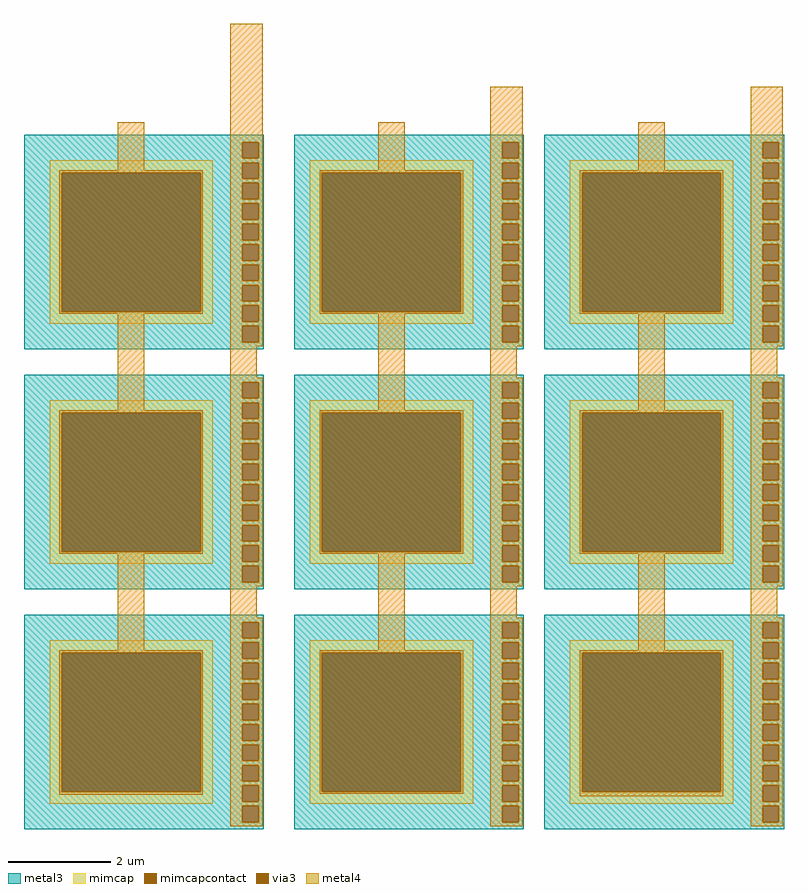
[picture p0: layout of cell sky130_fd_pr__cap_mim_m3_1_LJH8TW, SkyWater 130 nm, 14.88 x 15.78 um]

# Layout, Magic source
magic
tech sky130A
magscale 1 2
<< metal3 >>
rect -1489 1332 -550 1360
rect -1489 1268 -634 1332
rect -570 1268 -550 1332
rect -1489 1252 -550 1268
rect -1489 1188 -634 1252
rect -570 1188 -550 1252
rect -1489 1172 -550 1188
rect -1489 1108 -634 1172
rect -570 1108 -550 1172
rect -1489 1092 -550 1108
rect -1489 1028 -634 1092
rect -570 1028 -550 1092
rect -1489 1012 -550 1028
rect -1489 948 -634 1012
rect -570 948 -550 1012
rect -1489 932 -550 948
rect -1489 868 -634 932
rect -570 868 -550 932
rect -1489 852 -550 868
rect -1489 788 -634 852
rect -570 788 -550 852
rect -1489 772 -550 788
rect -1489 708 -634 772
rect -570 708 -550 772
rect -1489 692 -550 708
rect -1489 628 -634 692
rect -570 628 -550 692
rect -1489 612 -550 628
rect -1489 548 -634 612
rect -570 548 -550 612
rect -1489 520 -550 548
rect -430 1332 469 1360
rect -430 1268 385 1332
rect 449 1268 469 1332
rect -430 1252 469 1268
rect -430 1188 385 1252
rect 449 1188 469 1252
rect -430 1172 469 1188
rect -430 1108 385 1172
rect 449 1108 469 1172
rect -430 1092 469 1108
rect -430 1028 385 1092
rect 449 1028 469 1092
rect -430 1012 469 1028
rect -430 948 385 1012
rect 449 948 469 1012
rect -430 932 469 948
rect -430 868 385 932
rect 449 868 469 932
rect -430 852 469 868
rect -430 788 385 852
rect 449 788 469 852
rect -430 772 469 788
rect -430 708 385 772
rect 449 708 469 772
rect -430 692 469 708
rect -430 628 385 692
rect 449 628 469 692
rect -430 612 469 628
rect -430 548 385 612
rect 449 548 469 612
rect -430 520 469 548
rect 549 1332 1488 1360
rect 549 1268 1404 1332
rect 1468 1268 1488 1332
rect 549 1252 1488 1268
rect 549 1188 1404 1252
rect 1468 1188 1488 1252
rect 549 1172 1488 1188
rect 549 1108 1404 1172
rect 1468 1108 1488 1172
rect 549 1092 1488 1108
rect 549 1028 1404 1092
rect 1468 1028 1488 1092
rect 549 1012 1488 1028
rect 549 948 1404 1012
rect 1468 948 1488 1012
rect 549 932 1488 948
rect 549 868 1404 932
rect 1468 868 1488 932
rect 549 852 1488 868
rect 549 788 1404 852
rect 1468 788 1488 852
rect 549 772 1488 788
rect 549 708 1404 772
rect 1468 708 1488 772
rect 549 692 1488 708
rect 549 628 1404 692
rect 1468 628 1488 692
rect 549 612 1488 628
rect 549 548 1404 612
rect 1468 548 1488 612
rect 549 520 1488 548
rect -1489 392 -550 420
rect -1489 328 -634 392
rect -570 328 -550 392
rect -1489 312 -550 328
rect -1489 248 -634 312
rect -570 248 -550 312
rect -1489 232 -550 248
rect -1489 168 -634 232
rect -570 168 -550 232
rect -1489 152 -550 168
rect -1489 88 -634 152
rect -570 88 -550 152
rect -1489 72 -550 88
rect -1489 8 -634 72
rect -570 8 -550 72
rect -1489 -8 -550 8
rect -1489 -72 -634 -8
rect -570 -72 -550 -8
rect -1489 -88 -550 -72
rect -1489 -152 -634 -88
rect -570 -152 -550 -88
rect -1489 -168 -550 -152
rect -1489 -232 -634 -168
rect -570 -232 -550 -168
rect -1489 -248 -550 -232
rect -1489 -312 -634 -248
rect -570 -312 -550 -248
rect -1489 -328 -550 -312
rect -1489 -392 -634 -328
rect -570 -392 -550 -328
rect -1489 -420 -550 -392
rect -430 392 469 420
rect -430 328 385 392
rect 449 328 469 392
rect -430 312 469 328
rect -430 248 385 312
rect 449 248 469 312
rect -430 232 469 248
rect -430 168 385 232
rect 449 168 469 232
rect -430 152 469 168
rect -430 88 385 152
rect 449 88 469 152
rect -430 72 469 88
rect -430 8 385 72
rect 449 8 469 72
rect -430 -8 469 8
rect -430 -72 385 -8
rect 449 -72 469 -8
rect -430 -88 469 -72
rect -430 -152 385 -88
rect 449 -152 469 -88
rect -430 -168 469 -152
rect -430 -232 385 -168
rect 449 -232 469 -168
rect -430 -248 469 -232
rect -430 -312 385 -248
rect 449 -312 469 -248
rect -430 -328 469 -312
rect -430 -392 385 -328
rect 449 -392 469 -328
rect -430 -420 469 -392
rect 549 392 1488 420
rect 549 328 1404 392
rect 1468 328 1488 392
rect 549 312 1488 328
rect 549 248 1404 312
rect 1468 248 1488 312
rect 549 232 1488 248
rect 549 168 1404 232
rect 1468 168 1488 232
rect 549 152 1488 168
rect 549 88 1404 152
rect 1468 88 1488 152
rect 549 72 1488 88
rect 549 8 1404 72
rect 1468 8 1488 72
rect 549 -8 1488 8
rect 549 -72 1404 -8
rect 1468 -72 1488 -8
rect 549 -88 1488 -72
rect 549 -152 1404 -88
rect 1468 -152 1488 -88
rect 549 -168 1488 -152
rect 549 -232 1404 -168
rect 1468 -232 1488 -168
rect 549 -248 1488 -232
rect 549 -312 1404 -248
rect 1468 -312 1488 -248
rect 549 -328 1488 -312
rect 549 -392 1404 -328
rect 1468 -392 1488 -328
rect 549 -420 1488 -392
rect -1489 -548 -550 -520
rect -1489 -612 -634 -548
rect -570 -612 -550 -548
rect -1489 -628 -550 -612
rect -1489 -692 -634 -628
rect -570 -692 -550 -628
rect -1489 -708 -550 -692
rect -1489 -772 -634 -708
rect -570 -772 -550 -708
rect -1489 -788 -550 -772
rect -1489 -852 -634 -788
rect -570 -852 -550 -788
rect -1489 -868 -550 -852
rect -1489 -932 -634 -868
rect -570 -932 -550 -868
rect -1489 -948 -550 -932
rect -1489 -1012 -634 -948
rect -570 -1012 -550 -948
rect -1489 -1028 -550 -1012
rect -1489 -1092 -634 -1028
rect -570 -1092 -550 -1028
rect -1489 -1108 -550 -1092
rect -1489 -1172 -634 -1108
rect -570 -1172 -550 -1108
rect -1489 -1188 -550 -1172
rect -1489 -1252 -634 -1188
rect -570 -1252 -550 -1188
rect -1489 -1268 -550 -1252
rect -1489 -1332 -634 -1268
rect -570 -1332 -550 -1268
rect -1489 -1360 -550 -1332
rect -430 -548 469 -520
rect -430 -612 385 -548
rect 449 -612 469 -548
rect -430 -628 469 -612
rect -430 -692 385 -628
rect 449 -692 469 -628
rect -430 -708 469 -692
rect -430 -772 385 -708
rect 449 -772 469 -708
rect -430 -788 469 -772
rect -430 -852 385 -788
rect 449 -852 469 -788
rect -430 -868 469 -852
rect -430 -932 385 -868
rect 449 -932 469 -868
rect -430 -948 469 -932
rect -430 -1012 385 -948
rect 449 -1012 469 -948
rect -430 -1028 469 -1012
rect -430 -1092 385 -1028
rect 449 -1092 469 -1028
rect -430 -1108 469 -1092
rect -430 -1172 385 -1108
rect 449 -1172 469 -1108
rect -430 -1188 469 -1172
rect -430 -1252 385 -1188
rect 449 -1252 469 -1188
rect -430 -1268 469 -1252
rect -430 -1332 385 -1268
rect 449 -1332 469 -1268
rect -430 -1360 469 -1332
rect 549 -548 1488 -520
rect 549 -612 1404 -548
rect 1468 -612 1488 -548
rect 549 -628 1488 -612
rect 549 -692 1404 -628
rect 1468 -692 1488 -628
rect 549 -708 1488 -692
rect 549 -772 1404 -708
rect 1468 -772 1488 -708
rect 549 -788 1488 -772
rect 549 -852 1404 -788
rect 1468 -852 1488 -788
rect 549 -868 1488 -852
rect 549 -932 1404 -868
rect 1468 -932 1488 -868
rect 549 -948 1488 -932
rect 549 -1012 1404 -948
rect 1468 -1012 1488 -948
rect 549 -1028 1488 -1012
rect 549 -1092 1404 -1028
rect 1468 -1092 1488 -1028
rect 549 -1108 1488 -1092
rect 549 -1172 1404 -1108
rect 1468 -1172 1488 -1108
rect 549 -1188 1488 -1172
rect 549 -1252 1404 -1188
rect 1468 -1252 1488 -1188
rect 549 -1268 1488 -1252
rect 549 -1332 1404 -1268
rect 1468 -1332 1488 -1268
rect 549 -1360 1488 -1332
<< via3 >>
rect -634 1268 -570 1332
rect -634 1188 -570 1252
rect -634 1108 -570 1172
rect -634 1028 -570 1092
rect -634 948 -570 1012
rect -634 868 -570 932
rect -634 788 -570 852
rect -634 708 -570 772
rect -634 628 -570 692
rect -634 548 -570 612
rect 385 1268 449 1332
rect 385 1188 449 1252
rect 385 1108 449 1172
rect 385 1028 449 1092
rect 385 948 449 1012
rect 385 868 449 932
rect 385 788 449 852
rect 385 708 449 772
rect 385 628 449 692
rect 385 548 449 612
rect 1404 1268 1468 1332
rect 1404 1188 1468 1252
rect 1404 1108 1468 1172
rect 1404 1028 1468 1092
rect 1404 948 1468 1012
rect 1404 868 1468 932
rect 1404 788 1468 852
rect 1404 708 1468 772
rect 1404 628 1468 692
rect 1404 548 1468 612
rect -634 328 -570 392
rect -634 248 -570 312
rect -634 168 -570 232
rect -634 88 -570 152
rect -634 8 -570 72
rect -634 -72 -570 -8
rect -634 -152 -570 -88
rect -634 -232 -570 -168
rect -634 -312 -570 -248
rect -634 -392 -570 -328
rect 385 328 449 392
rect 385 248 449 312
rect 385 168 449 232
rect 385 88 449 152
rect 385 8 449 72
rect 385 -72 449 -8
rect 385 -152 449 -88
rect 385 -232 449 -168
rect 385 -312 449 -248
rect 385 -392 449 -328
rect 1404 328 1468 392
rect 1404 248 1468 312
rect 1404 168 1468 232
rect 1404 88 1468 152
rect 1404 8 1468 72
rect 1404 -72 1468 -8
rect 1404 -152 1468 -88
rect 1404 -232 1468 -168
rect 1404 -312 1468 -248
rect 1404 -392 1468 -328
rect -634 -612 -570 -548
rect -634 -692 -570 -628
rect -634 -772 -570 -708
rect -634 -852 -570 -788
rect -634 -932 -570 -868
rect -634 -1012 -570 -948
rect -634 -1092 -570 -1028
rect -634 -1172 -570 -1108
rect -634 -1252 -570 -1188
rect -634 -1332 -570 -1268
rect 385 -612 449 -548
rect 385 -692 449 -628
rect 385 -772 449 -708
rect 385 -852 449 -788
rect 385 -932 449 -868
rect 385 -1012 449 -948
rect 385 -1092 449 -1028
rect 385 -1172 449 -1108
rect 385 -1252 449 -1188
rect 385 -1332 449 -1268
rect 1404 -612 1468 -548
rect 1404 -692 1468 -628
rect 1404 -772 1468 -708
rect 1404 -852 1468 -788
rect 1404 -932 1468 -868
rect 1404 -1012 1468 -948
rect 1404 -1092 1468 -1028
rect 1404 -1172 1468 -1108
rect 1404 -1252 1468 -1188
rect 1404 -1332 1468 -1268
<< mimcap >>
rect -1389 1212 -749 1260
rect -1389 668 -1341 1212
rect -797 668 -749 1212
rect -1389 620 -749 668
rect -370 1212 270 1260
rect -370 668 -322 1212
rect 222 668 270 1212
rect -370 620 270 668
rect 649 1212 1289 1260
rect 649 668 697 1212
rect 1241 668 1289 1212
rect 649 620 1289 668
rect -1389 272 -749 320
rect -1389 -272 -1341 272
rect -797 -272 -749 272
rect -1389 -320 -749 -272
rect -370 272 270 320
rect -370 -272 -322 272
rect 222 -272 270 272
rect -370 -320 270 -272
rect 649 272 1289 320
rect 649 -272 697 272
rect 1241 -272 1289 272
rect 649 -320 1289 -272
rect -1389 -668 -749 -620
rect -1389 -1212 -1341 -668
rect -797 -1212 -749 -668
rect -1389 -1260 -749 -1212
rect -370 -668 270 -620
rect -370 -1212 -322 -668
rect 222 -1212 270 -668
rect -370 -1260 270 -1212
rect 649 -668 1289 -620
rect 649 -1212 697 -668
rect 1241 -1212 1289 -668
rect 649 -1260 1289 -1212
<< mimcapcontact >>
rect -1341 668 -797 1212
rect -322 668 222 1212
rect 697 668 1241 1212
rect -1341 -272 -797 272
rect -322 -272 222 272
rect 697 -272 1241 272
rect -1341 -1212 -797 -668
rect -322 -1212 222 -668
rect 697 -1212 1241 -668
<< metal4 >>
rect -1121 1221 -1017 1410
rect -681 1332 -554 1796
rect -681 1268 -634 1332
rect -570 1268 -554 1332
rect -681 1252 -554 1268
rect -1350 1212 -788 1221
rect -1350 668 -1341 1212
rect -797 668 -788 1212
rect -1350 659 -788 668
rect -681 1188 -634 1252
rect -570 1188 -554 1252
rect -102 1221 2 1410
rect 338 1332 465 1548
rect 338 1268 385 1332
rect 449 1268 465 1332
rect 338 1252 465 1268
rect -681 1172 -554 1188
rect -681 1108 -634 1172
rect -570 1108 -554 1172
rect -681 1092 -554 1108
rect -681 1028 -634 1092
rect -570 1028 -554 1092
rect -681 1012 -554 1028
rect -681 948 -634 1012
rect -570 948 -554 1012
rect -681 932 -554 948
rect -681 868 -634 932
rect -570 868 -554 932
rect -681 852 -554 868
rect -681 788 -634 852
rect -570 788 -554 852
rect -681 772 -554 788
rect -681 708 -634 772
rect -570 708 -554 772
rect -681 692 -554 708
rect -1121 281 -1017 659
rect -681 628 -634 692
rect -570 628 -554 692
rect -331 1212 231 1221
rect -331 668 -322 1212
rect 222 668 231 1212
rect -331 659 231 668
rect 338 1188 385 1252
rect 449 1188 465 1252
rect 917 1221 1021 1410
rect 1357 1332 1484 1549
rect 1357 1268 1404 1332
rect 1468 1268 1484 1332
rect 1357 1252 1484 1268
rect 338 1172 465 1188
rect 338 1108 385 1172
rect 449 1108 465 1172
rect 338 1092 465 1108
rect 338 1028 385 1092
rect 449 1028 465 1092
rect 338 1012 465 1028
rect 338 948 385 1012
rect 449 948 465 1012
rect 338 932 465 948
rect 338 868 385 932
rect 449 868 465 932
rect 338 852 465 868
rect 338 788 385 852
rect 449 788 465 852
rect 338 772 465 788
rect 338 708 385 772
rect 449 708 465 772
rect 338 692 465 708
rect -681 612 -554 628
rect -681 548 -634 612
rect -570 548 -554 612
rect -681 532 -554 548
rect -681 408 -577 532
rect -681 392 -554 408
rect -681 328 -634 392
rect -570 328 -554 392
rect -681 312 -554 328
rect -1350 272 -788 281
rect -1350 -272 -1341 272
rect -797 -272 -788 272
rect -1350 -281 -788 -272
rect -681 248 -634 312
rect -570 248 -554 312
rect -102 281 2 659
rect 338 628 385 692
rect 449 628 465 692
rect 688 1212 1250 1221
rect 688 668 697 1212
rect 1241 668 1250 1212
rect 688 659 1250 668
rect 1357 1188 1404 1252
rect 1468 1188 1484 1252
rect 1357 1172 1484 1188
rect 1357 1108 1404 1172
rect 1468 1108 1484 1172
rect 1357 1092 1484 1108
rect 1357 1028 1404 1092
rect 1468 1028 1484 1092
rect 1357 1012 1484 1028
rect 1357 948 1404 1012
rect 1468 948 1484 1012
rect 1357 932 1484 948
rect 1357 868 1404 932
rect 1468 868 1484 932
rect 1357 852 1484 868
rect 1357 788 1404 852
rect 1468 788 1484 852
rect 1357 772 1484 788
rect 1357 708 1404 772
rect 1468 708 1484 772
rect 1357 692 1484 708
rect 338 612 465 628
rect 338 548 385 612
rect 449 548 465 612
rect 338 532 465 548
rect 338 408 442 532
rect 338 392 465 408
rect 338 328 385 392
rect 449 328 465 392
rect 338 312 465 328
rect -681 232 -554 248
rect -681 168 -634 232
rect -570 168 -554 232
rect -681 152 -554 168
rect -681 88 -634 152
rect -570 88 -554 152
rect -681 72 -554 88
rect -681 8 -634 72
rect -570 8 -554 72
rect -681 -8 -554 8
rect -681 -72 -634 -8
rect -570 -72 -554 -8
rect -681 -88 -554 -72
rect -681 -152 -634 -88
rect -570 -152 -554 -88
rect -681 -168 -554 -152
rect -681 -232 -634 -168
rect -570 -232 -554 -168
rect -681 -248 -554 -232
rect -1121 -659 -1017 -281
rect -681 -312 -634 -248
rect -570 -312 -554 -248
rect -331 272 231 281
rect -331 -272 -322 272
rect 222 -272 231 272
rect -331 -281 231 -272
rect 338 248 385 312
rect 449 248 465 312
rect 917 281 1021 659
rect 1357 628 1404 692
rect 1468 628 1484 692
rect 1357 612 1484 628
rect 1357 548 1404 612
rect 1468 548 1484 612
rect 1357 532 1484 548
rect 1357 408 1461 532
rect 1357 392 1484 408
rect 1357 328 1404 392
rect 1468 328 1484 392
rect 1357 312 1484 328
rect 338 232 465 248
rect 338 168 385 232
rect 449 168 465 232
rect 338 152 465 168
rect 338 88 385 152
rect 449 88 465 152
rect 338 72 465 88
rect 338 8 385 72
rect 449 8 465 72
rect 338 -8 465 8
rect 338 -72 385 -8
rect 449 -72 465 -8
rect 338 -88 465 -72
rect 338 -152 385 -88
rect 449 -152 465 -88
rect 338 -168 465 -152
rect 338 -232 385 -168
rect 449 -232 465 -168
rect 338 -248 465 -232
rect -681 -328 -554 -312
rect -681 -392 -634 -328
rect -570 -392 -554 -328
rect -681 -408 -554 -392
rect -681 -532 -577 -408
rect -681 -548 -554 -532
rect -681 -612 -634 -548
rect -570 -612 -554 -548
rect -681 -628 -554 -612
rect -1350 -668 -788 -659
rect -1350 -1212 -1341 -668
rect -797 -1212 -788 -668
rect -1350 -1224 -788 -1212
rect -681 -692 -634 -628
rect -570 -692 -554 -628
rect -102 -659 2 -281
rect 338 -312 385 -248
rect 449 -312 465 -248
rect 688 272 1250 281
rect 688 -272 697 272
rect 1241 -272 1250 272
rect 688 -281 1250 -272
rect 1357 248 1404 312
rect 1468 248 1484 312
rect 1357 232 1484 248
rect 1357 168 1404 232
rect 1468 168 1484 232
rect 1357 152 1484 168
rect 1357 88 1404 152
rect 1468 88 1484 152
rect 1357 72 1484 88
rect 1357 8 1404 72
rect 1468 8 1484 72
rect 1357 -8 1484 8
rect 1357 -72 1404 -8
rect 1468 -72 1484 -8
rect 1357 -88 1484 -72
rect 1357 -152 1404 -88
rect 1468 -152 1484 -88
rect 1357 -168 1484 -152
rect 1357 -232 1404 -168
rect 1468 -232 1484 -168
rect 1357 -248 1484 -232
rect 338 -328 465 -312
rect 338 -392 385 -328
rect 449 -392 465 -328
rect 338 -408 465 -392
rect 338 -532 442 -408
rect 338 -548 465 -532
rect 338 -612 385 -548
rect 449 -612 465 -548
rect 338 -628 465 -612
rect -681 -708 -554 -692
rect -681 -772 -634 -708
rect -570 -772 -554 -708
rect -681 -788 -554 -772
rect -681 -852 -634 -788
rect -570 -852 -554 -788
rect -681 -868 -554 -852
rect -681 -932 -634 -868
rect -570 -932 -554 -868
rect -681 -948 -554 -932
rect -681 -1012 -634 -948
rect -570 -1012 -554 -948
rect -681 -1028 -554 -1012
rect -681 -1092 -634 -1028
rect -570 -1092 -554 -1028
rect -681 -1108 -554 -1092
rect -681 -1172 -634 -1108
rect -570 -1172 -554 -1108
rect -681 -1188 -554 -1172
rect -681 -1252 -634 -1188
rect -570 -1252 -554 -1188
rect -331 -668 231 -659
rect -331 -1212 -322 -668
rect 222 -1212 231 -668
rect -331 -1220 231 -1212
rect 338 -692 385 -628
rect 449 -692 465 -628
rect 917 -659 1021 -281
rect 1357 -312 1404 -248
rect 1468 -312 1484 -248
rect 1357 -328 1484 -312
rect 1357 -392 1404 -328
rect 1468 -392 1484 -328
rect 1357 -408 1484 -392
rect 1357 -532 1461 -408
rect 1357 -548 1484 -532
rect 1357 -612 1404 -548
rect 1468 -612 1484 -548
rect 1357 -628 1484 -612
rect 338 -708 465 -692
rect 338 -772 385 -708
rect 449 -772 465 -708
rect 338 -788 465 -772
rect 338 -852 385 -788
rect 449 -852 465 -788
rect 338 -868 465 -852
rect 338 -932 385 -868
rect 449 -932 465 -868
rect 338 -948 465 -932
rect 338 -1012 385 -948
rect 449 -1012 465 -948
rect 338 -1028 465 -1012
rect 338 -1092 385 -1028
rect 449 -1092 465 -1028
rect 338 -1108 465 -1092
rect 338 -1172 385 -1108
rect 449 -1172 465 -1108
rect 338 -1188 465 -1172
rect -681 -1268 -554 -1252
rect -681 -1332 -634 -1268
rect -570 -1332 -554 -1268
rect -681 -1348 -554 -1332
rect 338 -1252 385 -1188
rect 449 -1252 465 -1188
rect 688 -668 1250 -659
rect 688 -1212 697 -668
rect 1241 -1212 1250 -668
rect 688 -1231 1250 -1212
rect 1357 -692 1404 -628
rect 1468 -692 1484 -628
rect 1357 -708 1484 -692
rect 1357 -772 1404 -708
rect 1468 -772 1484 -708
rect 1357 -788 1484 -772
rect 1357 -852 1404 -788
rect 1468 -852 1484 -788
rect 1357 -868 1484 -852
rect 1357 -932 1404 -868
rect 1468 -932 1484 -868
rect 1357 -948 1484 -932
rect 1357 -1012 1404 -948
rect 1468 -1012 1484 -948
rect 1357 -1028 1484 -1012
rect 1357 -1092 1404 -1028
rect 1468 -1092 1484 -1028
rect 1357 -1108 1484 -1092
rect 1357 -1172 1404 -1108
rect 1468 -1172 1484 -1108
rect 1357 -1188 1484 -1172
rect 338 -1268 465 -1252
rect 338 -1332 385 -1268
rect 449 -1332 465 -1268
rect 338 -1348 465 -1332
rect 1357 -1252 1404 -1188
rect 1468 -1252 1484 -1188
rect 1357 -1268 1484 -1252
rect 1357 -1332 1404 -1268
rect 1468 -1332 1484 -1268
rect 1357 -1348 1484 -1332
<< properties >>
string FIXED_BBOX 489 520 1329 1360
<< end >>
